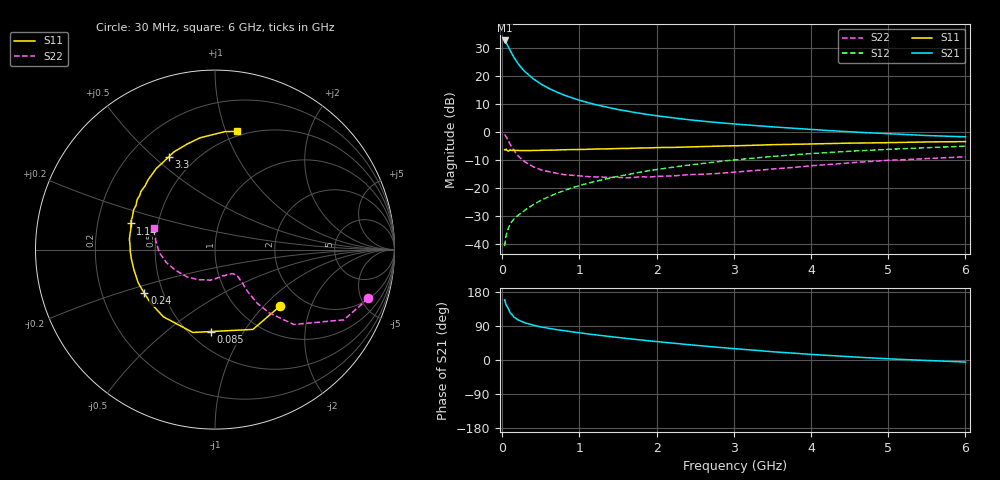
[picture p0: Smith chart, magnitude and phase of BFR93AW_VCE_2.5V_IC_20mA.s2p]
! Infineon Technologies  Discrete & RF Semiconductors
! BFR93AW
! VCE =  2.5 V,  IC =  20 mA
! Common Emitter S-Parameters:  Nov 2015
# GHz  S  MA  R  50
!  f  S11  S21  S12  S22
! GHz  MAG  ANG  MAG  ANG  MAG  ANG  MAG  ANG
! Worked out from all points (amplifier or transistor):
!   206 points, 30 MHz to 6 GHz, reference 50 ohm
!   highest |S21| = 32.5 dB at 30 MHz (marker M1)
!   |S21| within 3 dB of that: start of sweep to 90.56 MHz
!   unconditionally stable (mu >= 1): 534.1 MHz to 2.309 GHz
!   at 200 MHz: K = 0.71, MSG = 27.1 dB, |S12| = -29.8 dB
!   at 1.56 GHz: K = 1.05, MAG = 10.2 dB, |S12| = -15.5 dB
!   at 6 GHz: K = 0.93, MSG = 1.7 dB, |S12| = -5.1 dB
!   S11 on the Smith chart (normalised r, x): 30 MHz: 1.51, -1.24; 85 MHz: 0.63, -0.73; 240 MHz: 0.39, -0.24; 1.14 GHz: 0.35, +0.13; 3.3 GHz: 0.36, +0.56; 6 GHz: 0.46, +1.09
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0.03  0.4796 -41.3  42.35 158.9  0.0092 73.6  0.8968 -17.6
0.05  0.4923 -64.6  38.81 145.4  0.0143 66.7  0.8176 -28.6
0.085  0.4571 -92.9  31.03 132.5  0.0201 61.8  0.6637 -38.1
0.1  0.4779 -105.0  28.36 124.9  0.0226 60.4  0.6053 -43.6
0.15  0.4719 -127.5  21.13 113.4  0.028 57.8  0.4637 -49.4
0.2  0.4664 -140.5  16.68 106.2  0.0323 59.2  0.3804 -51.8
0.24  0.4627 -148.3  14.24 102.4  0.0353 60.1  0.3345 -52.1
0.3  0.4662 -156.7  11.54 97.4  0.0409 62.1  0.2875 -52.0
0.4  0.4655 -166.3  8.781 91.7  0.0502 64.9  0.2391 -50.6
0.5  0.4687 -173.4  7.102 87.2  0.0601 67.0  0.2107 -50.1
0.6  0.472 -178.2  5.952 83.6  0.0696 68.0  0.1949 -49.6
0.7  0.4736 177.1  5.141 80.2  0.0798 68.5  0.1839 -50.3
0.8  0.4803 173.3  4.508 77.2  0.0898 69.3  0.1725 -52.3
1.04  0.4845 165.4  3.516 70.7  0.1142 69.0  0.1621 -56.4
1.14  0.4908 162.7  3.223 68.1  0.1246 68.7  0.1587 -59.6
1.5  0.5048 153.9  2.49 59.4  0.1613 67.1  0.1548 -70.2
2.02  0.5251 141.4  1.913 48.1  0.2151 63.3  0.1616 -87.9
3.1  0.5677 120.0  1.347 28.5  0.3248 53.2  0.1952 -122.2
3.3  0.5779 116.4  1.284 25.3  0.3446 51.0  0.2052 -129.4
4.1  0.6114 103.3  1.08 13.6  0.4177 42.4  0.254 -155.4
5.1  0.6441 89.8  0.911 2.2  0.4951 31.4  0.3149 -179.6
6  0.6694 79.5  0.814 -5.4  0.5554 22.0  0.3593 160.8
